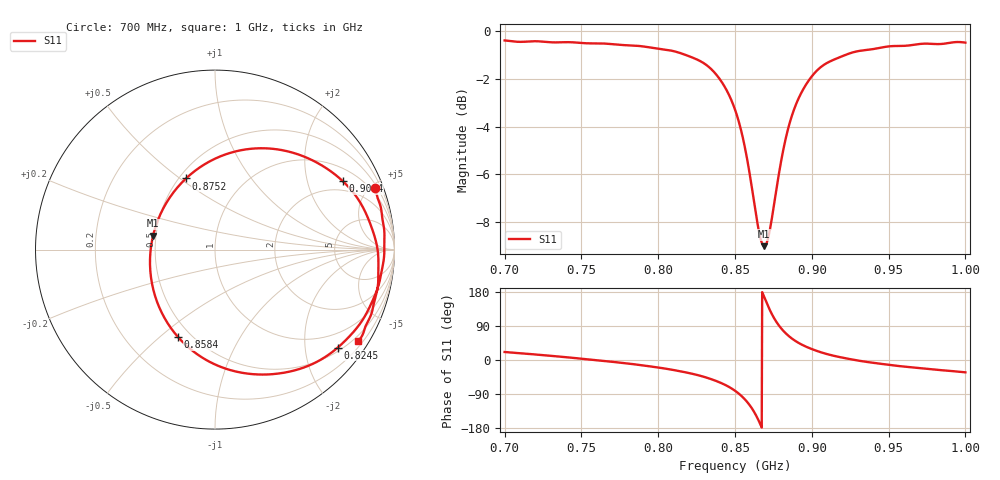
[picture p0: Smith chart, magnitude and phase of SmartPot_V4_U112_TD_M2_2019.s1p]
! SmartPot_V4_U112_TD_M2_2019
! Simulated CST 2019 data; not a VNA measurement.
! Port 1: U1.12 RF pad to In1.Cu GND, reference impedance 50 ohm.
! PRELIMINARY: numerical mesh convergence has NOT been confirmed.
! Converted from native real/imaginary ASCII exports without fitting.
# GHz S RI R 50
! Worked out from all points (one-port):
!   1001 points, 700 MHz to 1 GHz, reference 50 ohm
!   lowest |S11| = -9.0 dB at 868.9 MHz (marker M1), VSWR 2.09, Z = 24.1 + j4.26 ohm
!   |S11| at or under -10 dB: nowhere
!   S11 on the Smith chart (normalised r, x): 700 MHz: 0.64, +5.28; 824.5 MHz: 0.59, -2.74; 858.4 MHz: 0.43, -0.57; 875.2 MHz: 0.54, +0.53; 900.4 MHz: 1.52, +3.33; 1 GHz: 0.34, -3.40
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0.7  0.8926 0.3452
0.7375  0.9387 0.1378
0.7753  0.9297 -0.1147
0.7951  0.884 -0.2711
0.8125  0.796 -0.429
0.8245  0.6838 -0.5458
0.8314  0.586 -0.6153
0.838  0.4555 -0.6696
0.8449  0.2751 -0.6961
0.85  0.1061 -0.6768
0.8545  -0.0639 -0.6061
0.8584  -0.2074 -0.4855
0.8641  -0.3474 -0.2072
0.8665  -0.3623 -0.066
0.8689  -0.3452 0.0773
0.8719  -0.2799 0.245
0.8752  -0.1615 0.3964
0.8782  -0.0275 0.4926
0.8812  0.1146 0.547
0.8842  0.2505 0.5646
0.8878  0.3935 0.55
0.8938  0.575 0.4807
0.9004  0.7114 0.3819
0.9103  0.8297 0.2251
0.925  0.8991 0.0355
0.9388  0.9103 -0.1082
0.9628  0.8857 -0.2958
1  0.7984 -0.5092
